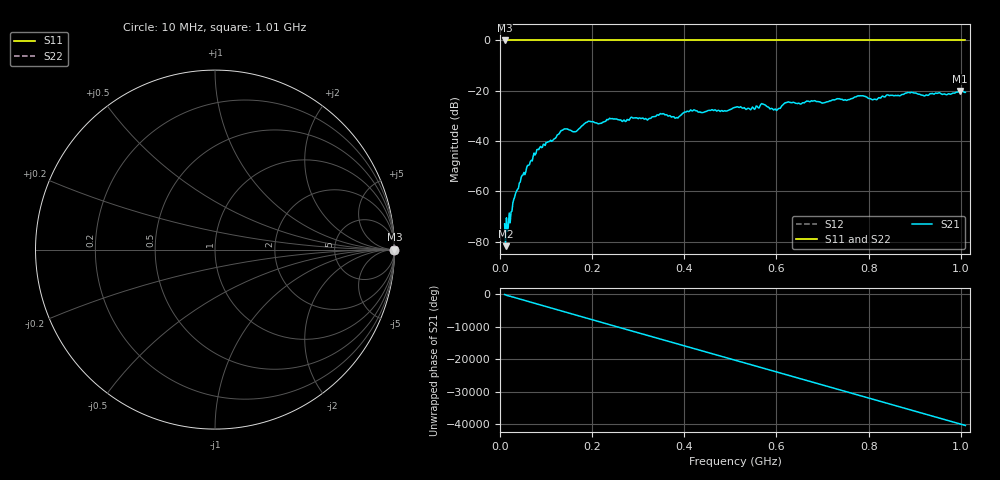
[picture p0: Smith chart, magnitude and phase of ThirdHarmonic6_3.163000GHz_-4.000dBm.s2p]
! 8/17/2025 9:30:05 AM
! C:\ANRITSUVNA\TEMP\TEMP.S2P
! CHANNEL.1
! TR.MEASUREMENT
! RAW.DATA
! RF.CORRECTION.OFF
! AVERAGING.OFF
! IF.BANDWIDTH: 5KHZ
! SWEEPTYPE:  FREQ.SWEEP(Linear)
! Reference Plane Port Info
! PORT:  PORT1  PORT2
! DISTANCE:  0  m  0  m
! TIME:  0  s  0  s
! PHASE.OFFSET:  0  deg.  0  deg.
! LOSS:  0  dB  0  dB
! REF.LOSS:  0  dB  0  dB
! REF.FREQ:  0  Hz  0  Hz
! Power Info
! POWER:  -20  dBm  -20  dBm
! EFF.POWER:  -20  dBm  -20  dBm
! SOURCE.ATTEN:  0  dB  0  dB
! TEST.ATTEN:  0  dB  0  dB
# GHZ S RI R 50.0
! FREQ.GHZ  S11RE  S11IM  S21RE  S21IM  S12RE  S12IM  S22RE  S22IM
!; PortSelection: Port_12
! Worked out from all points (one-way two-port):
!   501 points, 10 MHz to 1.01 GHz, reference 50 ohm
!   highest |S21| = -20.02 dB at 998 MHz (marker M1); lowest = -81.7 dB at 12 MHz (marker M2)
!   lowest |S11| = 0.0 dB at 10 MHz (marker M3)
!   |S11| at or under -10 dB: nowhere
!   |S22| runs from 0.0 to 0.0 dB; largest |S21 - S12| = 1.1
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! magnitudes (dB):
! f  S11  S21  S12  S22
! 10 MHz  0.0  -72.8  0.0  0.0
! 12 MHz  0.0  -81.7  0.0  0.0
! 20 MHz  0.0  -68.6  0.0  0.0
! 32 MHz  0.0  -62.1  0.0  0.0
! 46 MHz  0.0  -54.4  0.0  0.0
! 78 MHz  0.0  -44.9  0.0  0.0
! 136 MHz  0.0  -35.6  0.0  0.0
! 162 MHz  0.0  -36.2  0.0  0.0
! 178 MHz  0.0  -33.9  0.0  0.0
! 194 MHz  0.0  -32.1  0.0  0.0
! 322 MHz  0.0  -31.3  0.0  0.0
! 344 MHz  0.0  -29.7  0.0  0.0
! 384 MHz  0.0  -30.6  0.0  0.0
! 416 MHz  0.0  -27.9  0.0  0.0
! 510 MHz  0.0  -26.6  0.0  0.0
! 570 MHz  0.0  -25.2  0.0  0.0
! 598 MHz  0.0  -27.3  0.0  0.0
! 622 MHz  0.0  -24.7  0.0  0.0
! 678 MHz  0.0  -24.1  0.0  0.0
! 844 MHz  0.0  -21.8  0.0  0.0
! 998 MHz  0.0  -20.0  0.0  0.0
! 1.01 GHz  0.0  -20.6  0.0  0.0
